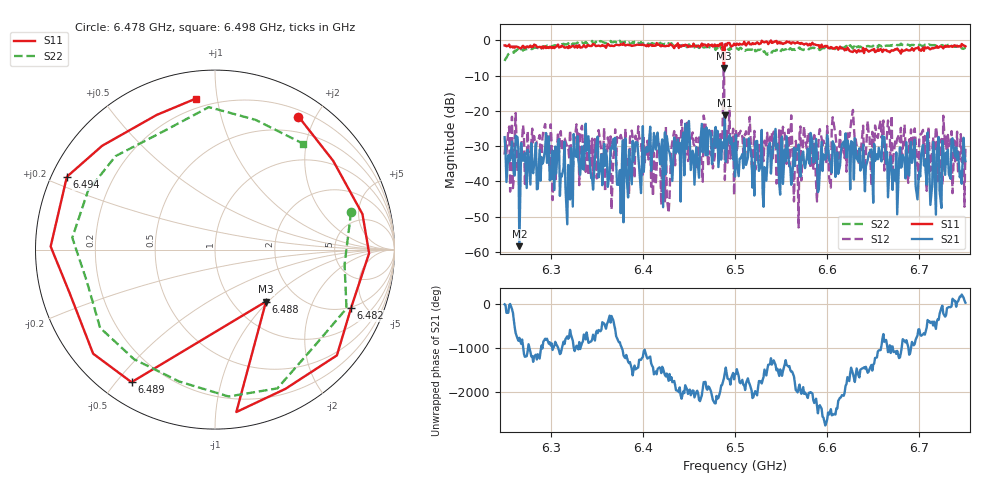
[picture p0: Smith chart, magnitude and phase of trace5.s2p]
# Hz S RI R 50
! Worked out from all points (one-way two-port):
!   401 points, 6.25 GHz to 6.75 GHz, reference 50 ohm
!   highest |S21| = -21.30 dB at 6.489 GHz (marker M1); lowest = -58.4 dB at 6.266 GHz (marker M2)
!   lowest |S11| = -7.8 dB at 6.488 GHz (marker M3), VSWR 2.36, Z = 70.1 - j48.5 ohm
!   |S11| at or under -10 dB: nowhere
!   |S22| runs from -5.8 to -0.1 dB; largest |S21 - S12| = 0.67
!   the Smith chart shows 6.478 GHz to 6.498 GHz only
!   S11 on the Smith chart (normalised r, x): 6.478 GHz: 0.28, +1.77; 6.482 GHz: 1.95, -3.96; 6.488 GHz: 1.40, -0.97; 6.489 GHz: 0.09, -0.55; 6.494 GHz: 0.04, +0.23; 6.498 GHz: 0.15, +0.87
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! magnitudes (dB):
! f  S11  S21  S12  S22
! 6.25 GHz  -1.4  -27.5  -32.4  -5.8
! 6.266 GHz  -2.2  -58.4  -33.2  -2.7
! 6.295 GHz  -2.2  -26.3  -27.7  -1.8
! 6.304 GHz  -2.2  -42.4  -31.3  -1.4
! 6.319 GHz  -2.2  -35.3  -30.1  -0.8
! 6.334 GHz  -2.0  -30.1  -24.2  -0.6
! 6.368 GHz  -1.6  -27.9  -32.9  -0.5
! 6.376 GHz  -1.0  -49.0  -26.8  -0.6
! 6.418 GHz  -1.2  -32.8  -30.5  -0.8
! 6.478 GHz  -1.2  -25.9  -33.1  -2.1
! 6.482 GHz  -1.7  -35.9  -29.0  -1.4
! 6.488 GHz  -7.8  -30.6  -3.1  -2.2
! 6.489 GHz  -1.2  -21.3  -39.6  -2.7
! 6.494 GHz  -0.7  -26.9  -19.3  -2.9
! 6.498 GHz  -1.4  -33.8  -25.1  -2.3
! 6.5 GHz  -1.3  -38.6  -27.0  -2.2
! 6.56 GHz  -0.7  -35.9  -28.2  -2.2
! 6.566 GHz  -0.7  -30.7  -28.5  -2.4
! 6.572 GHz  -0.7  -33.2  -39.7  -2.5
! 6.584 GHz  -0.7  -28.5  -29.5  -2.1
! 6.668 GHz  -3.4  -33.7  -26.9  -1.5
! 6.75 GHz  -1.7  -34.2  -30.7  -1.9
